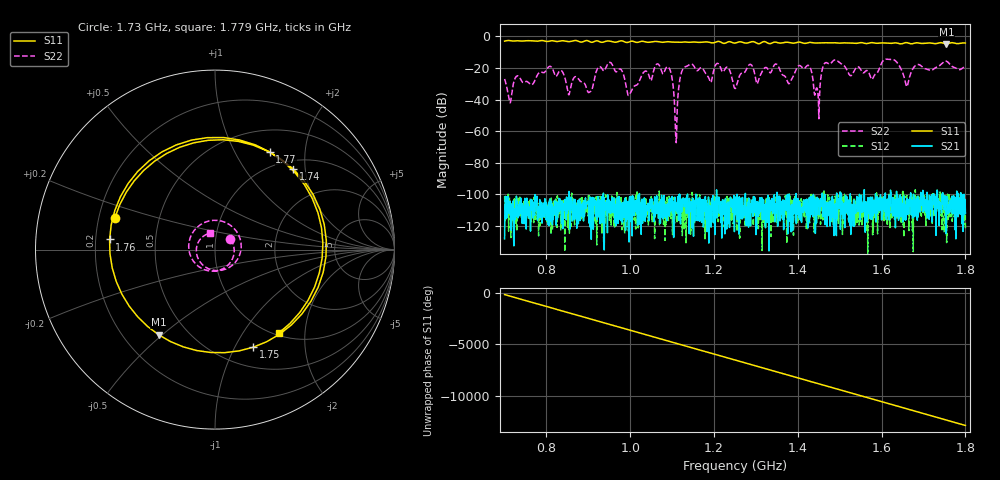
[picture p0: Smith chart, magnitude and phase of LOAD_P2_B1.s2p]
# Hz S RI R 50
! RAW DATA - UNCALIBRATED
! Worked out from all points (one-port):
!   1601 points, 700 MHz to 1.8 GHz, reference 50 ohm
!   lowest |S11| = -4.9 dB at 1.755 GHz (marker M1), VSWR 3.64, Z = 17.3 - j24.3 ohm
!   |S11| at or under -10 dB: nowhere
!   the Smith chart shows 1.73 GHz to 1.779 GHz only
!   S11 on the Smith chart (normalised r, x): 1.73 GHz: 0.27, +0.14; 1.74 GHz: 1.17, +1.73; 1.75 GHz: 0.72, -1.19; 1.76 GHz: 0.26, +0.04; 1.77 GHz: 0.78, +1.40; 1.779 GHz: 1.05, -1.47
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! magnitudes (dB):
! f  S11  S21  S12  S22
! 700 MHz  -3.1  -128.1  -101.1  -27.0
! 883.6 MHz  -3.7  -112.7  -115.3  -28.8
! 951.6 MHz  -3.1  -106.7  -113.0  -16.5
! 997.7 MHz  -3.6  -103.6  -115.1  -37.1
! 1.067 GHz  -3.5  -115.1  -112.1  -17.7
! 1.095 GHz  -3.6  -102.2  -106.1  -21.0
! 1.109 GHz  -3.7  -107.5  -108.6  -62.6
! 1.14 GHz  -3.8  -106.6  -106.9  -18.2
! 1.25 GHz  -4.3  -112.7  -102.9  -33.1
! 1.434 GHz  -4.0  -101.3  -100.7  -23.4
! 1.446 GHz  -4.3  -112.3  -101.7  -33.0
! 1.467 GHz  -4.1  -109.9  -109.5  -16.7
! 1.617 GHz  -4.5  -100.4  -99.9  -14.7
! 1.66 GHz  -4.0  -104.6  -110.0  -31.9
! 1.73 GHz  -4.7  -125.8  -107.8  -19.7
! 1.74 GHz  -4.1  -109.1  -106.9  -18.2
! 1.75 GHz  -4.7  -109.6  -116.9  -15.9
! 1.755 GHz  -4.9  -103.8  -113.2  -15.8
! 1.76 GHz  -4.6  -106.6  -115.0  -16.9
! 1.77 GHz  -4.1  -108.4  -105.7  -19.3
! 1.779 GHz  -4.7  -97.8  -109.1  -20.4
! 1.8 GHz  -4.3  -111.9  -121.5  -18.9
